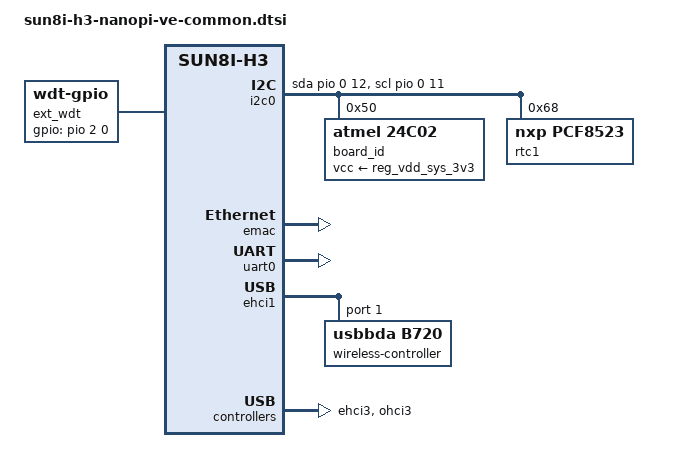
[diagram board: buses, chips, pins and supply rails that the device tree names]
// SPDX-License-Identifier: GPL-2.0 OR X11
/*
 * Copyright (C) 2018 Mans Rullgard <mans@mansr.com>
 */

#include "sun8i-h3-nanopi-neo-core.dtsi"

/ {
	compatible = "friendlyarm,nanopi-neo-core", "allwinner,sun8i-h3";

	aliases {
		nvmem0 = &board_id;
		serial0 = &uart0;
		serial1 = &uart1;
		serial2 = &uart2;
		serial3 = &uart3;
		ethernet0 = &emac;
		i2c0 = &i2c0;
		watchdog0 = &ext_wdt;
		watchdog1 = &wdt0;
	};

	chosen {
		stdout-path = "serial0:115200n8";
	};

	ext_wdt: watchdog {
		compatible = "linux,wdt-gpio";
		gpios = <&pio 2 0 GPIO_ACTIVE_HIGH>;
		hw_algo = "toggle";
		hw_margin_ms = <30000>;
		always-running;
	};
};

&pio {
	i2c0_gpio_pins: i2c0-gpio-pins {
		pins = "PA11", "PA12";
		function = "i2c0";
	};
};

&i2c0 {
	pinctrl-names = "default", "gpio";
	pinctrl-0 = <&i2c0_pins>;
	pinctrl-1 = <&i2c0_gpio_pins>;
	scl-gpios = <&pio 0 11 (GPIO_ACTIVE_HIGH | GPIO_OPEN_DRAIN)>; /* PA11 */
	sda-gpios = <&pio 0 12 (GPIO_ACTIVE_HIGH | GPIO_OPEN_DRAIN)>; /* PA12 */
	status = "okay";

	board_id: eeprom@50 {
		compatible = "atmel,24c02";
		reg = <0x50>;
		pagesize = <16>;
		read-only;
		vcc-supply = <&reg_vdd_sys_3v3>;
	};

	rtc1: rtc@68 {
		compatible = "nxp,pcf8523";
		reg = <0x68>;
	};
};

&emac {
	status = "okay";
};

&uart0 {
	pinctrl-names = "default";
	pinctrl-0 = <&uart0_pa_pins>;
	status = "okay";
};

&ehci1 {
	status = "okay";

	#address-cells = <1>;
	#size-cells = <0>;

	wireless-controller@1 {
		compatible = "usbbda,b720";
		reg = <1>;

		#address-cells = <2>;
		#size-cells = <0>;

		bluetooth@0 {
			compatible = "usbifbda,b720.config1.0";
			reg = <0 1>;
			status = "disabled";
		};

		bluetooth@1 {
			compatible = "usbifbda,b720.config1.1";
			reg = <1 1>;
			status = "disabled";
		};
	};
};

&ehci3 {
	status = "okay";
};

&ohci3 {
	status = "okay";
};

&rtc {
	status = "disabled";
};
